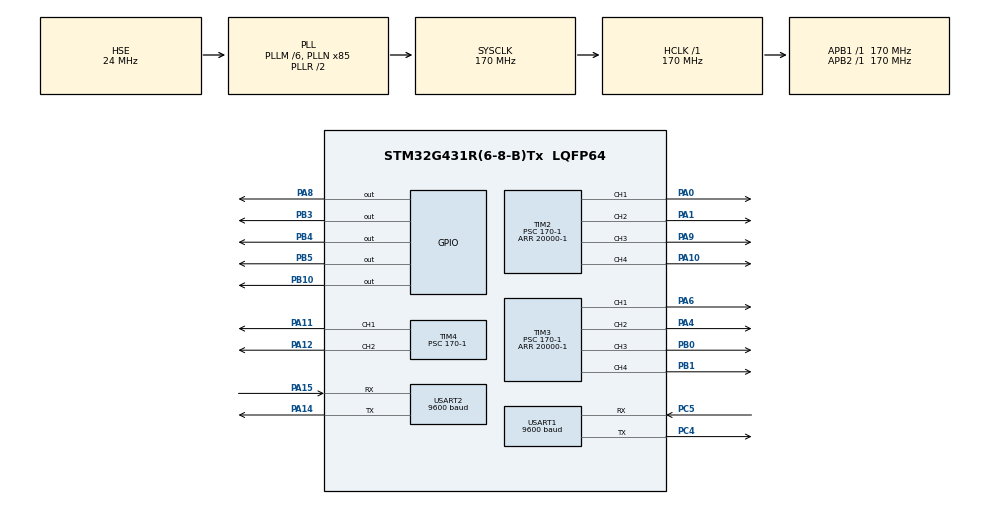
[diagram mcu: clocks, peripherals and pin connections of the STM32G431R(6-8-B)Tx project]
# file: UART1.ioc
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Mcu.Family=STM32G4
Mcu.Name=STM32G431R(6-8-B)Tx
Mcu.Package=LQFP64
NVIC.PriorityGroup=NVIC_PRIORITYGROUP_4
NVIC.USART1_IRQn=true\:1\:0\:true\:true\:true\:1\:true\:true
NVIC.USART2_IRQn=true\:2\:0\:true\:true\:true\:2\:true\:true
PA0.Signal=S_TIM2_CH1
PA1.Signal=S_TIM2_CH2
PA10.Signal=S_TIM2_CH4
PA11.Signal=S_TIM4_CH1
PA12.Signal=S_TIM4_CH2
PA14.Mode=Asynchronous
PA14.Signal=USART2_TX
PA15.Mode=Asynchronous
PA15.Signal=USART2_RX
PA4.Signal=S_TIM3_CH2
PA6.Signal=S_TIM3_CH1
PA8.Signal=GPIO_Output
PA9.Signal=S_TIM2_CH3
PB0.Signal=S_TIM3_CH3
PB1.Signal=S_TIM3_CH4
PB10.Signal=GPIO_Output
PB3.Signal=GPIO_Output
PB4.Signal=GPIO_Output
PB5.Signal=GPIO_Output
PC4.Mode=Asynchronous
PC4.Signal=USART1_TX
PC5.Mode=Asynchronous
PC5.Signal=USART1_RX
PF0-OSC_IN.Mode=HSE-External-Oscillator
PF0-OSC_IN.Signal=RCC_OSC_IN
PF1-OSC_OUT.Mode=HSE-External-Oscillator
PF1-OSC_OUT.Signal=RCC_OSC_OUT
ProjectManager.HeapSize=0x200
ProjectManager.StackSize=0x400
ProjectManager.TargetToolchain=STM32CubeIDE
RCC.ADC12Freq_Value=170000000
RCC.AHBFreq_Value=170000000
RCC.APB1Freq_Value=170000000
RCC.APB1TimFreq_Value=170000000
RCC.APB2Freq_Value=170000000
RCC.APB2TimFreq_Value=170000000
RCC.CortexFreq_Value=170000000
RCC.EXTERNAL_CLOCK_VALUE=12288000
RCC.HCLKFreq_Value=170000000
RCC.HSE_VALUE=24000000
RCC.HSI48_VALUE=48000000
RCC.HSI_VALUE=16000000
RCC.LSE_VALUE=32768
RCC.PLLM=RCC_PLLM_DIV6
RCC.PLLN=85
RCC.PLLSourceVirtual=RCC_PLLSOURCE_HSE
RCC.SYSCLKFreq_VALUE=170000000
RCC.SYSCLKSource=RCC_SYSCLKSOURCE_PLLCLK
RCC.USBFreq_Value=170000000
RCC.VCOOutputFreq_Value=340000000
SH.S_TIM2_CH1.0=TIM2_CH1,PWM Generation1 CH1
SH.S_TIM2_CH2.0=TIM2_CH2,PWM Generation2 CH2
SH.S_TIM2_CH3.0=TIM2_CH3,PWM Generation3 CH3
SH.S_TIM2_CH4.0=TIM2_CH4,PWM Generation4 CH4
SH.S_TIM3_CH1.0=TIM3_CH1,PWM Generation1 CH1
SH.S_TIM3_CH2.0=TIM3_CH2,PWM Generation2 CH2
SH.S_TIM3_CH3.0=TIM3_CH3,PWM Generation3 CH3
SH.S_TIM3_CH4.0=TIM3_CH4,PWM Generation4 CH4
SH.S_TIM4_CH1.0=TIM4_CH1,PWM Generation1 CH1
SH.S_TIM4_CH2.0=TIM4_CH2,PWM Generation2 CH2
TIM2.Channel-PWM\ Generation1\ CH1=TIM_CHANNEL_1
TIM2.Channel-PWM\ Generation2\ CH2=TIM_CHANNEL_2
TIM2.Channel-PWM\ Generation3\ CH3=TIM_CHANNEL_3
TIM2.Channel-PWM\ Generation4\ CH4=TIM_CHANNEL_4
TIM2.PeriodNoDither=20000-1
TIM2.Prescaler=170-1
TIM3.Channel-PWM\ Generation1\ CH1=TIM_CHANNEL_1
TIM3.Channel-PWM\ Generation2\ CH2=TIM_CHANNEL_2
TIM3.Channel-PWM\ Generation3\ CH3=TIM_CHANNEL_3
TIM3.Channel-PWM\ Generation4\ CH4=TIM_CHANNEL_4
TIM3.PeriodNoDither=20000-1
TIM3.Prescaler=170-1
TIM4.Channel-PWM\ Generation1\ CH1=TIM_CHANNEL_1
TIM4.Channel-PWM\ Generation2\ CH2=TIM_CHANNEL_2
TIM4.PeriodNoDither=20000-1
TIM4.Prescaler=170-1
USART1.BaudRate=9600
USART1.VirtualMode-Asynchronous=VM_ASYNC
USART2.BaudRate=9600
USART2.VirtualMode-Asynchronous=VM_ASYNC
VP_SYS_VS_DBSignals.Mode=DisableDeadBatterySignals
board=custom

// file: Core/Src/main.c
/* USER CODE BEGIN Header */
/**
  ******************************************************************************
  * @file           : main.c
  * @brief          : Main program body
  ******************************************************************************
  * @attention
  *
  * <h2><center>&copy; Copyright (c) 2020 STMicroelectronics.
  * All rights reserved.</center></h2>
  *
  * This software component is licensed by ST under BSD 3-Clause license,
  * the "License"; You may not use this file except in compliance with the
  * License. You may obtain a copy of the License at:
  *                        opensource.org/licenses/BSD-3-Clause
  *
  ******************************************************************************
  */
/* USER CODE END Header */

#include "main.h"

TIM_HandleTypeDef htim2;
TIM_HandleTypeDef htim3;
TIM_HandleTypeDef htim4;

UART_HandleTypeDef huart1;
UART_HandleTypeDef huart2;

/* USER CODE BEGIN PV */
uint8_t aRxBuffer[1];
uint8_t aRxBuffer2[1];
uint16_t pwm_compare1 = 1000;
uint16_t pwm_compare2 = 1500;
uint16_t pwm_compare3 = 1500;
uint16_t pwm_compare6 = 1600;
uint16_t pwm_compare4 = 1500;
uint16_t pwm_compare5 = 1650;
uint16_t pwm_compare9 = 1500;
uint16_t pwm_compare10 = 1500;
uint16_t pwm_compare7 = 1500;
uint16_t pwm_compare8 = 1500;

/* USER CODE END PV */

void SystemClock_Config(void);
static void MX_GPIO_Init(void);
static void MX_USART1_UART_Init(void);
static void MX_TIM2_Init(void);
static void MX_TIM3_Init(void);
static void MX_TIM4_Init(void);
static void MX_USART2_UART_Init(void);
static void MX_NVIC_Init(void);

/* USER CODE BEGIN 0 */
#include "stdio.h"
#ifdef __GNUC__
#define PUTCHAR_PROTOTYPE int __io_putchar(int ch)
#else
#define PUTCHAR_PROTOTYPE int fputc(int ch, FILE *f)
#endif /* __GNUC__ */
PUTCHAR_PROTOTYPE
{
    HAL_UART_Transmit(&huart1 , (uint8_t *)&ch, 1, 0xFFFF);
    return ch;
}

/* USER CODE END 0 */

int main(void)
{

  /* MCU Configuration--------------------------------------------------------*/

  /* Reset of all peripherals, Initializes the Flash interface and the Systick. */
  HAL_Init();

  /* Configure the system clock */
  SystemClock_Config();

  /* Initialize all configured peripherals */
  MX_GPIO_Init();
  MX_USART1_UART_Init();
  MX_TIM2_Init();
  MX_TIM3_Init();
  MX_TIM4_Init();
  MX_USART2_UART_Init();

  /* Initialize interrupts */
  MX_NVIC_Init();
  /* USER CODE BEGIN 2 */
  HAL_TIM_PWM_Start_IT(&htim2,TIM_CHANNEL_1);
  HAL_TIM_PWM_Start_IT(&htim2,TIM_CHANNEL_2);
  HAL_TIM_PWM_Start_IT(&htim2,TIM_CHANNEL_3);
  HAL_TIM_PWM_Start_IT(&htim2,TIM_CHANNEL_4);
  HAL_TIM_PWM_Start_IT(&htim3,TIM_CHANNEL_1);
  HAL_TIM_PWM_Start_IT(&htim3,TIM_CHANNEL_2);
  HAL_TIM_PWM_Start_IT(&htim3,TIM_CHANNEL_3);
  HAL_TIM_PWM_Start_IT(&htim3,TIM_CHANNEL_4);
  HAL_TIM_PWM_Start_IT(&htim4,TIM_CHANNEL_1);
  HAL_TIM_PWM_Start_IT(&htim4,TIM_CHANNEL_2);
  __HAL_TIM_SetCompare(&htim2, TIM_CHANNEL_1, pwm_compare1);
  __HAL_TIM_SetCompare(&htim2, TIM_CHANNEL_2, pwm_compare2);
  __HAL_TIM_SetCompare(&htim2, TIM_CHANNEL_3, pwm_compare3);
  __HAL_TIM_SetCompare(&htim2, TIM_CHANNEL_4, pwm_compare6);
  __HAL_TIM_SetCompare(&htim3, TIM_CHANNEL_1, pwm_compare4);
  __HAL_TIM_SetCompare(&htim3, TIM_CHANNEL_2, pwm_compare5);
  __HAL_TIM_SetCompare(&htim3, TIM_CHANNEL_3, pwm_compare9);
  __HAL_TIM_SetCompare(&htim3, TIM_CHANNEL_4, pwm_compare10);
  __HAL_TIM_SetCompare(&htim4, TIM_CHANNEL_1, pwm_compare7);
  __HAL_TIM_SetCompare(&htim4, TIM_CHANNEL_2, pwm_compare8);
  HAL_UART_Receive_IT(&huart1, (uint8_t *)aRxBuffer, 1);//HAL库中接收中断函数，内部开启了中断，并将数据存储在aRxBuffer，现在在aRxBuffer就缓存一个Byte，该函数只有接收完才会调用回调函数
  HAL_UART_Receive_IT(&huart2, (uint8_t *)aRxBuffer2, 1);
  /* USER CODE END 2 */

  /* Infinite loop */
  while (1)
  {

  }
}

void SystemClock_Config(void)
{
  RCC_OscInitTypeDef RCC_OscInitStruct = {0};
  RCC_ClkInitTypeDef RCC_ClkInitStruct = {0};
  RCC_PeriphCLKInitTypeDef PeriphClkInit = {0};

  /** Configure the main internal regulator output voltage
  */
  HAL_PWREx_ControlVoltageScaling(PWR_REGULATOR_VOLTAGE_SCALE1_BOOST);
  /** Initializes the CPU, AHB and APB busses clocks
  */
  RCC_OscInitStruct.OscillatorType = RCC_OSCILLATORTYPE_HSE;
  RCC_OscInitStruct.HSEState = RCC_HSE_ON;
  RCC_OscInitStruct.PLL.PLLState = RCC_PLL_ON;
  RCC_OscInitStruct.PLL.PLLSource = RCC_PLLSOURCE_HSE;
  RCC_OscInitStruct.PLL.PLLM = RCC_PLLM_DIV6;
  RCC_OscInitStruct.PLL.PLLN = 85;
  RCC_OscInitStruct.PLL.PLLP = RCC_PLLP_DIV2;
  RCC_OscInitStruct.PLL.PLLQ = RCC_PLLQ_DIV2;
  RCC_OscInitStruct.PLL.PLLR = RCC_PLLR_DIV2;
  if (HAL_RCC_OscConfig(&RCC_OscInitStruct) != HAL_OK)
  {
    Error_Handler();
  }
  /** Initializes the CPU, AHB and APB busses clocks
  */
  RCC_ClkInitStruct.ClockType = RCC_CLOCKTYPE_HCLK|RCC_CLOCKTYPE_SYSCLK
                              |RCC_CLOCKTYPE_PCLK1|RCC_CLOCKTYPE_PCLK2;
  RCC_ClkInitStruct.SYSCLKSource = RCC_SYSCLKSOURCE_PLLCLK;
  RCC_ClkInitStruct.AHBCLKDivider = RCC_SYSCLK_DIV1;
  RCC_ClkInitStruct.APB1CLKDivider = RCC_HCLK_DIV1;
  RCC_ClkInitStruct.APB2CLKDivider = RCC_HCLK_DIV1;

  if (HAL_RCC_ClockConfig(&RCC_ClkInitStruct, FLASH_LATENCY_8) != HAL_OK)
  {
    Error_Handler();
  }
  /** Initializes the peripherals clocks
  */
  PeriphClkInit.PeriphClockSelection = RCC_PERIPHCLK_USART1|RCC_PERIPHCLK_USART2;
  PeriphClkInit.Usart1ClockSelection = RCC_USART1CLKSOURCE_PCLK2;
  PeriphClkInit.Usart2ClockSelection = RCC_USART2CLKSOURCE_PCLK1;
  if (HAL_RCCEx_PeriphCLKConfig(&PeriphClkInit) != HAL_OK)
  {
    Error_Handler();
  }
}

/**
  * @brief NVIC Configuration.
  * @retval None
  */
static void MX_NVIC_Init(void)
{
  /* USART1_IRQn interrupt configuration */
  HAL_NVIC_SetPriority(USART1_IRQn, 1, 0);
  HAL_NVIC_EnableIRQ(USART1_IRQn);
  /* USART2_IRQn interrupt configuration */
  HAL_NVIC_SetPriority(USART2_IRQn, 2, 0);
  HAL_NVIC_EnableIRQ(USART2_IRQn);
}

static void MX_TIM2_Init(void)
{

  TIM_MasterConfigTypeDef sMasterConfig = {0};
  TIM_OC_InitTypeDef sConfigOC = {0};

  htim2.Instance = TIM2;
  htim2.Init.Prescaler = 170-1;
  htim2.Init.CounterMode = TIM_COUNTERMODE_UP;
  htim2.Init.Period = 19999;
  htim2.Init.ClockDivision = TIM_CLOCKDIVISION_DIV1;
  htim2.Init.AutoReloadPreload = TIM_AUTORELOAD_PRELOAD_DISABLE;
  if (HAL_TIM_PWM_Init(&htim2) != HAL_OK)
  {
    Error_Handler();
  }
  sMasterConfig.MasterOutputTrigger = TIM_TRGO_RESET;
  sMasterConfig.MasterSlaveMode = TIM_MASTERSLAVEMODE_DISABLE;
  if (HAL_TIMEx_MasterConfigSynchronization(&htim2, &sMasterConfig) != HAL_OK)
  {
    Error_Handler();
  }
  sConfigOC.OCMode = TIM_OCMODE_PWM1;
  sConfigOC.Pulse = 0;
  sConfigOC.OCPolarity = TIM_OCPOLARITY_HIGH;
  sConfigOC.OCFastMode = TIM_OCFAST_DISABLE;
  if (HAL_TIM_PWM_ConfigChannel(&htim2, &sConfigOC, TIM_CHANNEL_1) != HAL_OK)
  {
    Error_Handler();
  }
  sConfigOC.Pulse = 0;
  if (HAL_TIM_PWM_ConfigChannel(&htim2, &sConfigOC, TIM_CHANNEL_2) != HAL_OK)
  {
    Error_Handler();
  }
  sConfigOC.Pulse = 0;
  if (HAL_TIM_PWM_ConfigChannel(&htim2, &sConfigOC, TIM_CHANNEL_3) != HAL_OK)
  {
    Error_Handler();
  }
  sConfigOC.Pulse = 0;
  if (HAL_TIM_PWM_ConfigChannel(&htim2, &sConfigOC, TIM_CHANNEL_4) != HAL_OK)
  {
    Error_Handler();
  }
  HAL_TIM_MspPostInit(&htim2);

}

static void MX_TIM3_Init(void)
{

  TIM_MasterConfigTypeDef sMasterConfig = {0};
  TIM_OC_InitTypeDef sConfigOC = {0};

  htim3.Instance = TIM3;
  htim3.Init.Prescaler = 170-1;
  htim3.Init.CounterMode = TIM_COUNTERMODE_UP;
  htim3.Init.Period = 19999;
  htim3.Init.ClockDivision = TIM_CLOCKDIVISION_DIV1;
  htim3.Init.AutoReloadPreload = TIM_AUTORELOAD_PRELOAD_DISABLE;
  if (HAL_TIM_PWM_Init(&htim3) != HAL_OK)
  {
    Error_Handler();
  }
  sMasterConfig.MasterOutputTrigger = TIM_TRGO_RESET;
  sMasterConfig.MasterSlaveMode = TIM_MASTERSLAVEMODE_DISABLE;
  if (HAL_TIMEx_MasterConfigSynchronization(&htim3, &sMasterConfig) != HAL_OK)
  {
    Error_Handler();
  }
  sConfigOC.OCMode = TIM_OCMODE_PWM1;
  sConfigOC.Pulse = 0;
  sConfigOC.OCPolarity = TIM_OCPOLARITY_HIGH;
  sConfigOC.OCFastMode = TIM_OCFAST_DISABLE;
  if (HAL_TIM_PWM_ConfigChannel(&htim3, &sConfigOC, TIM_CHANNEL_1) != HAL_OK)
  {
    Error_Handler();
  }
  sConfigOC.Pulse = 0;
  if (HAL_TIM_PWM_ConfigChannel(&htim3, &sConfigOC, TIM_CHANNEL_2) != HAL_OK)
  {
    Error_Handler();
  }
  sConfigOC.Pulse = 0;
  if (HAL_TIM_PWM_ConfigChannel(&htim3, &sConfigOC, TIM_CHANNEL_3) != HAL_OK)
  {
    Error_Handler();
  }
  sConfigOC.Pulse = 0;
  if (HAL_TIM_PWM_ConfigChannel(&htim3, &sConfigOC, TIM_CHANNEL_4) != HAL_OK)
  {
    Error_Handler();
  }
  HAL_TIM_MspPostInit(&htim3);

}

static void MX_TIM4_Init(void)
{

  TIM_MasterConfigTypeDef sMasterConfig = {0};
  TIM_OC_InitTypeDef sConfigOC = {0};

  htim4.Instance = TIM4;
  htim4.Init.Prescaler = 170-1;
  htim4.Init.CounterMode = TIM_COUNTERMODE_UP;
  htim4.Init.Period = 19999;
  htim4.Init.ClockDivision = TIM_CLOCKDIVISION_DIV1;
  htim4.Init.AutoReloadPreload = TIM_AUTORELOAD_PRELOAD_DISABLE;
  if (HAL_TIM_PWM_Init(&htim4) != HAL_OK)
  {
    Error_Handler();
  }
  sMasterConfig.MasterOutputTrigger = TIM_TRGO_RESET;
  sMasterConfig.MasterSlaveMode = TIM_MASTERSLAVEMODE_DISABLE;
  if (HAL_TIMEx_MasterConfigSynchronization(&htim4, &sMasterConfig) != HAL_OK)
  {
    Error_Handler();
  }
  sConfigOC.OCMode = TIM_OCMODE_PWM1;
  sConfigOC.Pulse = 0;
  sConfigOC.OCPolarity = TIM_OCPOLARITY_HIGH;
  sConfigOC.OCFastMode = TIM_OCFAST_DISABLE;
  if (HAL_TIM_PWM_ConfigChannel(&htim4, &sConfigOC, TIM_CHANNEL_1) != HAL_OK)
  {
    Error_Handler();
  }
  sConfigOC.Pulse = 0;
  if (HAL_TIM_PWM_ConfigChannel(&htim4, &sConfigOC, TIM_CHANNEL_2) != HAL_OK)
  {
    Error_Handler();
  }
  HAL_TIM_MspPostInit(&htim4);

}

static void MX_USART1_UART_Init(void)
{

  huart1.Instance = USART1;
  huart1.Init.BaudRate = 9600;
  huart1.Init.WordLength = UART_WORDLENGTH_8B;
  huart1.Init.StopBits = UART_STOPBITS_1;
  huart1.Init.Parity = UART_PARITY_NONE;
  huart1.Init.Mode = UART_MODE_TX_RX;
  huart1.Init.HwFlowCtl = UART_HWCONTROL_NONE;
  huart1.Init.OverSampling = UART_OVERSAMPLING_16;
  huart1.Init.OneBitSampling = UART_ONE_BIT_SAMPLE_DISABLE;
  huart1.Init.ClockPrescaler = UART_PRESCALER_DIV1;
  huart1.AdvancedInit.AdvFeatureInit = UART_ADVFEATURE_NO_INIT;
  if (HAL_UART_Init(&huart1) != HAL_OK)
  {
    Error_Handler();
  }
  if (HAL_UARTEx_SetTxFifoThreshold(&huart1, UART_TXFIFO_THRESHOLD_1_8) != HAL_OK)
  {
    Error_Handler();
  }
  if (HAL_UARTEx_SetRxFifoThreshold(&huart1, UART_RXFIFO_THRESHOLD_1_8) != HAL_OK)
  {
    Error_Handler();
  }
  if (HAL_UARTEx_DisableFifoMode(&huart1) != HAL_OK)
  {
    Error_Handler();
  }

}

static void MX_USART2_UART_Init(void)
{

  huart2.Instance = USART2;
  huart2.Init.BaudRate = 9600;
  huart2.Init.WordLength = UART_WORDLENGTH_8B;
  huart2.Init.StopBits = UART_STOPBITS_1;
  huart2.Init.Parity = UART_PARITY_NONE;
  huart2.Init.Mode = UART_MODE_TX_RX;
  huart2.Init.HwFlowCtl = UART_HWCONTROL_NONE;
  huart2.Init.OverSampling = UART_OVERSAMPLING_16;
  huart2.Init.OneBitSampling = UART_ONE_BIT_SAMPLE_DISABLE;
  huart2.Init.ClockPrescaler = UART_PRESCALER_DIV1;
  huart2.AdvancedInit.AdvFeatureInit = UART_ADVFEATURE_NO_INIT;
  if (HAL_UART_Init(&huart2) != HAL_OK)
  {
    Error_Handler();
  }
  if (HAL_UARTEx_SetTxFifoThreshold(&huart2, UART_TXFIFO_THRESHOLD_1_8) != HAL_OK)
  {
    Error_Handler();
  }
  if (HAL_UARTEx_SetRxFifoThreshold(&huart2, UART_RXFIFO_THRESHOLD_1_8) != HAL_OK)
  {
    Error_Handler();
  }
  if (HAL_UARTEx_DisableFifoMode(&huart2) != HAL_OK)
  {
    Error_Handler();
  }

}

static void MX_GPIO_Init(void)
{
  GPIO_InitTypeDef GPIO_InitStruct = {0};

  /* GPIO Ports Clock Enable */
  __HAL_RCC_GPIOF_CLK_ENABLE();
  __HAL_RCC_GPIOA_CLK_ENABLE();
  __HAL_RCC_GPIOC_CLK_ENABLE();
  __HAL_RCC_GPIOB_CLK_ENABLE();

  /*Configure GPIO pin Output Level */
  HAL_GPIO_WritePin(GPIOB, GPIO_PIN_10|GPIO_PIN_3|GPIO_PIN_4|GPIO_PIN_5, GPIO_PIN_RESET);

  /*Configure GPIO pin Output Level */
  HAL_GPIO_WritePin(GPIOA, GPIO_PIN_8, GPIO_PIN_RESET);

  /*Configure GPIO pins : PB10 PB3 PB4 PB5 */
  GPIO_InitStruct.Pin = GPIO_PIN_10|GPIO_PIN_3|GPIO_PIN_4|GPIO_PIN_5;
  GPIO_InitStruct.Mode = GPIO_MODE_OUTPUT_PP;
  GPIO_InitStruct.Pull = GPIO_NOPULL;
  GPIO_InitStruct.Speed = GPIO_SPEED_FREQ_LOW;
  HAL_GPIO_Init(GPIOB, &GPIO_InitStruct);

  /*Configure GPIO pin : PA8 */
  GPIO_InitStruct.Pin = GPIO_PIN_8;
  GPIO_InitStruct.Mode = GPIO_MODE_OUTPUT_PP;
  GPIO_InitStruct.Pull = GPIO_NOPULL;
  GPIO_InitStruct.Speed = GPIO_SPEED_FREQ_LOW;
  HAL_GPIO_Init(GPIOA, &GPIO_InitStruct);

}

/* USER CODE BEGIN 4 */
//控制0~180度舵机旋转
//void USR_TIM2_PWM_SetCompare(uint16_t duty)
//{
//   uint16_t pluse = 500;
//   pluse += duty;
////   HAL_TIM_PWM_Start_IT(&htim2,TIM_CHANNEL_1);
//   __HAL_TIM_SetCompare(&htim2, TIM_CHANNEL_1, (uint16_t)pluse);
//   pluse = 500;
//
//}

//蓝牙通信
void HAL_UART_RxCpltCallback(UART_HandleTypeDef *UartHandle)
{
	 HAL_UART_Transmit(&huart1, ((uint8_t *)aRxBuffer), 1,0xFFFF);
	 HAL_UART_Receive_IT(&huart1, (uint8_t *)aRxBuffer, 1);
	 switch(aRxBuffer[0]){
	 case 0x50:
		 HAL_GPIO_WritePin(GPIOA, GPIO_PIN_8, GPIO_PIN_SET);
		 break;
	 case 0x51:
		 HAL_GPIO_WritePin(GPIOA, GPIO_PIN_8, GPIO_PIN_RESET);
		 break;

		 //舵机控制
	 case 0x32://PWM1钳子张开
		 pwm_compare1 += 10;
		 if(pwm_compare1 <= 2400)
		 {
			 __HAL_TIM_SetCompare(&htim2, TIM_CHANNEL_1, pwm_compare1);
		 }
		 break;

	 case 0x31://钳子收缩
		 pwm_compare1 -= 10;
		 if(pwm_compare1 >= 86)
		 {
			 __HAL_TIM_SetCompare(&htim2, TIM_CHANNEL_1, pwm_compare1);
		 }
		 break;
	 case 0x33://PWM2前端控制钳子右运动
		 pwm_compare2 += 10;
		 if(pwm_compare2 <= 2400)
		 {
			__HAL_TIM_SetCompare(&htim2, TIM_CHANNEL_2, pwm_compare2);
		 }
		break;
	 case 0x34://前端控制钳子的左运动
		 pwm_compare2 -= 10;
		 if(pwm_compare2 >= 60)
		 {
			__HAL_TIM_SetCompare(&htim2, TIM_CHANNEL_2, pwm_compare2);
		 }
		break;
	 case 0x35://PWM3前端控制钳子的上运动
		 pwm_compare3 += 10;
		 if(pwm_compare3 <= 2400)
		 {
			 __HAL_TIM_SetCompare(&htim2, TIM_CHANNEL_3, pwm_compare3);
		 }
		break;
	 case 0x36://前端控制钳子的下运动
		 pwm_compare3 -= 10;
		 if(pwm_compare3 >= 560)
		 {
			 __HAL_TIM_SetCompare(&htim2, TIM_CHANNEL_3, pwm_compare3);

		 }
	     break;
	 case 0x41://PWM6整体右转
		 pwm_compare6 += 20;
		 if(pwm_compare6 <= 2400)
		 {
			   __HAL_TIM_SetCompare(&htim2, TIM_CHANNEL_4, pwm_compare6);
		 }
		break;
	 case 0x42://整体左转
		 pwm_compare6 -= 20;
		 if(pwm_compare6 >= 560)
		 {
			__HAL_TIM_SetCompare(&htim2, TIM_CHANNEL_4, pwm_compare6);
		 }
		break;
	 case 0x37://PWM4、PWM5 向后缩进
		pwm_compare4 += 20;
		pwm_compare5 += 20;
		if(pwm_compare5 <= 2400)
		{
			__HAL_TIM_SetCompare(&htim3, TIM_CHANNEL_1, pwm_compare4);
			__HAL_TIM_SetCompare(&htim3, TIM_CHANNEL_2, pwm_compare5);
	    }
		break;

	 case 0x38://向前推进
		 pwm_compare4 -= 20;
		 pwm_compare5 -= 20;
		 if(pwm_compare4 >= 60)
		 {
			 __HAL_TIM_SetCompare(&htim3, TIM_CHANNEL_1, pwm_compare4);
			 __HAL_TIM_SetCompare(&htim3, TIM_CHANNEL_2, pwm_compare5);
		 }
			break;

	 case 0x53://PWM9 摄像头左转
		 pwm_compare9 += 10;
		 if(pwm_compare9 <= 2400)
		 {
			 __HAL_TIM_SetCompare(&htim3, TIM_CHANNEL_3, pwm_compare9);
		 }
		 			 break;
	 case 0x54://摄像头右转
		 pwm_compare9 -= 10;
		 if(pwm_compare9 >= 60)
		 {
		 	 __HAL_TIM_SetCompare(&htim3, TIM_CHANNEL_3, pwm_compare9);
		 }
		 			 break;
	 case 0x57:
	 	 pwm_compare9 = 1500;
	 	 __HAL_TIM_SetCompare(&htim3, TIM_CHANNEL_3, pwm_compare9);
	 	 break;
	 case 0x55://PWM10摄像头向下转
		 pwm_compare10 += 10;
		 if(pwm_compare10 <= 2400)
		 {
			 __HAL_TIM_SetCompare(&htim3, TIM_CHANNEL_4, pwm_compare10);
	     }
			 break;
	 case 0x56://摄像头向上转
		 pwm_compare10 -= 10;
		 if(pwm_compare10 >= 60)
		 {
			 __HAL_TIM_SetCompare(&htim3, TIM_CHANNEL_4, pwm_compare10);
		 }
			 break;

	 case 0x43://前进
		 //IN1<=1; IN2<=0; IN3<=0; IN4<=1;
		 HAL_GPIO_WritePin(GPIOB, GPIO_PIN_10|GPIO_PIN_3, GPIO_PIN_SET);
		 HAL_GPIO_WritePin(GPIOB, GPIO_PIN_4|GPIO_PIN_5, GPIO_PIN_RESET);
		 break;
	 case 0x44://后退
//			 IN1<=0; IN2<=1; IN3<=1; IN4<=0;
		 HAL_GPIO_WritePin(GPIOB, GPIO_PIN_4|GPIO_PIN_5, GPIO_PIN_SET);
		 HAL_GPIO_WritePin(GPIOB, GPIO_PIN_10|GPIO_PIN_3, GPIO_PIN_RESET);
		 break;
	 case 0x45://右转
		 //IN1<=1; IN2<=0; IN3<=1; IN4<=0;
		 HAL_GPIO_WritePin(GPIOB, GPIO_PIN_3|GPIO_PIN_4, GPIO_PIN_SET);
		 HAL_GPIO_WritePin(GPIOB, GPIO_PIN_5|GPIO_PIN_10, GPIO_PIN_RESET);
		break;
	 case 0x46://左转
		//IN1<=0; IN2<=1; IN3<=0; IN4<=1;
		HAL_GPIO_WritePin(GPIOB, GPIO_PIN_5|GPIO_PIN_10, GPIO_PIN_SET);
		HAL_GPIO_WritePin(GPIOB, GPIO_PIN_3|GPIO_PIN_4, GPIO_PIN_RESET);
		break;
	 case 0x47://停止
		//IN1<=0; IN2<=0; IN3<=0; IN4<=0;
		HAL_GPIO_WritePin(GPIOB, GPIO_PIN_10|GPIO_PIN_3|GPIO_PIN_4|GPIO_PIN_5, GPIO_PIN_RESET);
		break;

	 case 0x48://高速
		 pwm_compare7 = 2500;
		 pwm_compare8 = 2500;
		 __HAL_TIM_SetCompare(&htim4, TIM_CHANNEL_1, pwm_compare7);
		 __HAL_TIM_SetCompare(&htim4, TIM_CHANNEL_2, pwm_compare8);
		 break;
	 case 0x49://中速
		 pwm_compare7 = 2000;
		 pwm_compare8 = 2000;
		 __HAL_TIM_SetCompare(&htim4, TIM_CHANNEL_1, pwm_compare7);
		 __HAL_TIM_SetCompare(&htim4, TIM_CHANNEL_2, pwm_compare8);
		 break;

	 case 0x52://慢速
		 pwm_compare7 = 1500;
		 pwm_compare8 = 1500;
		 __HAL_TIM_SetCompare(&htim4, TIM_CHANNEL_1, pwm_compare7);
		 __HAL_TIM_SetCompare(&htim4, TIM_CHANNEL_2, pwm_compare8);
		 break;
	 }

	 HAL_UART_Transmit(&huart2, ((uint8_t *)aRxBuffer2), 1,0xFFFF);
	 HAL_UART_Receive_IT(&huart2, (uint8_t *)aRxBuffer2, 1);
	 switch(aRxBuffer2[0])
	 {
	 	 case 0x50:
	 	 HAL_GPIO_WritePin(GPIOA, GPIO_PIN_8, GPIO_PIN_SET);
	 	 break;
	 	 case 0x51:
	 	 HAL_GPIO_WritePin(GPIOA, GPIO_PIN_8, GPIO_PIN_RESET);
	 	 break;
	 //舵机控制
	 	 case 0x32://PWM1钳子张开
	 		 pwm_compare1 += 10;
	 		 if(pwm_compare1 <= 2400)
	 		 {
	 			 __HAL_TIM_SetCompare(&htim2, TIM_CHANNEL_1, pwm_compare1);
	 		 }
	 		 break;

	 	 case 0x31://钳子收缩
	 		 pwm_compare1 -= 10;
	 		 if(pwm_compare1 >= 86)
	 		 {
	 			 __HAL_TIM_SetCompare(&htim2, TIM_CHANNEL_1, pwm_compare1);
	 		 }
	 		 break;
	 	 case 0x33://PWM2前端控制钳子右运动
	 		 pwm_compare2 += 10;
	 		 if(pwm_compare2 <= 2400)
	 		 {
	 			__HAL_TIM_SetCompare(&htim2, TIM_CHANNEL_2, pwm_compare2);
	 		 }
	 		break;
	 	 case 0x34://前端控制钳子的左运动
	 		 pwm_compare2 -= 10;
	 		 if(pwm_compare2 >= 60)
	 		 {
	 			__HAL_TIM_SetCompare(&htim2, TIM_CHANNEL_2, pwm_compare2);
	 		 }
	 		break;
	 	 case 0x35://PWM3前端控制钳子的上运动
	 		 pwm_compare3 += 10;
	 		 if(pwm_compare3 <= 2400)
	 		 {
	 			 __HAL_TIM_SetCompare(&htim2, TIM_CHANNEL_3, pwm_compare3);
	 		 }
	 		break;
	 	 case 0x36://前端控制钳子的下运动
	 		 pwm_compare3 -= 10;
	 		 if(pwm_compare3 >= 560)
	 		 {
	 			 __HAL_TIM_SetCompare(&htim2, TIM_CHANNEL_3, pwm_compare3);

	 		 }
	 	     break;
	 	 case 0x41://PWM6整体右转
	 		 pwm_compare6 += 20;
	 		 if(pwm_compare6 <= 2400)
	 		 {
	 			   __HAL_TIM_SetCompare(&htim2, TIM_CHANNEL_4, pwm_compare6);
	 		 }
	 		break;
	 	 case 0x42://整体左转
	 		 pwm_compare6 -= 20;
	 		 if(pwm_compare6 >= 560)
	 		 {
	 			__HAL_TIM_SetCompare(&htim2, TIM_CHANNEL_4, pwm_compare6);
	 		 }
	 		break;
	 	 case 0x37://PWM4、PWM5 向后缩进
	 		pwm_compare4 += 20;
	 		pwm_compare5 += 20;
	 		if(pwm_compare5 <= 2400)
	 		{
	 			__HAL_TIM_SetCompare(&htim3, TIM_CHANNEL_1, pwm_compare4);
	 			__HAL_TIM_SetCompare(&htim3, TIM_CHANNEL_2, pwm_compare5);
	 	    }
	 		break;

	 	 case 0x38://向前推进
	 		 pwm_compare4 -= 20;
	 		 pwm_compare5 -= 20;
	 		 if(pwm_compare4 >= 60)
	 		 {
	 			 __HAL_TIM_SetCompare(&htim3, TIM_CHANNEL_1, pwm_compare4);
	 			 __HAL_TIM_SetCompare(&htim3, TIM_CHANNEL_2, pwm_compare5);
	 		 }
	 			break;

	 	 case 0x53://PWM9 摄像头左转
	 		 pwm_compare9 += 10;
	 		 if(pwm_compare9 <= 2400)
	 		 {
	 			 __HAL_TIM_SetCompare(&htim3, TIM_CHANNEL_3, pwm_compare9);
	 		 }
	 		 			 break;
	 	 case 0x54://摄像头右转
	 		 pwm_compare9 -= 10;
	 		 if(pwm_compare9 >= 60)
	 		 {
	 		 	 __HAL_TIM_SetCompare(&htim3, TIM_CHANNEL_3, pwm_compare9);
	 		 }
	 		 			 break;
	 	 case 0x57:
	 		 	 pwm_compare9 = 1500;
	 		 	 __HAL_TIM_SetCompare(&htim3, TIM_CHANNEL_3, pwm_compare9);
	 		 	 break;

	 	 case 0x55://PWM10摄像头向下转
	 		 pwm_compare10 += 10;
	 		 if(pwm_compare10 <= 2400)
	 		 {
	 			 __HAL_TIM_SetCompare(&htim3, TIM_CHANNEL_4, pwm_compare10);
	 	     }
	 			 break;
	 	 case 0x56://摄像头向上转
	 		 pwm_compare10 -= 10;
	 		 if(pwm_compare10 >= 60)
	 		 {
	 			 __HAL_TIM_SetCompare(&htim3, TIM_CHANNEL_4, pwm_compare10);
	 		 }
	 			 break;
	 	 case 0x43://前进
	 		 //IN1<=1; IN2<=0; IN3<=0; IN4<=1;
	 		 HAL_GPIO_WritePin(GPIOB, GPIO_PIN_10|GPIO_PIN_3, GPIO_PIN_SET);
	 		 HAL_GPIO_WritePin(GPIOB, GPIO_PIN_4|GPIO_PIN_5, GPIO_PIN_RESET);
	 		 break;
	 	 case 0x44://后退
	 //			 IN1<=0; IN2<=1; IN3<=1; IN4<=0;
	 		 HAL_GPIO_WritePin(GPIOB, GPIO_PIN_4|GPIO_PIN_5, GPIO_PIN_SET);
	 		 HAL_GPIO_WritePin(GPIOB, GPIO_PIN_10|GPIO_PIN_3, GPIO_PIN_RESET);
	 		 break;
	 	 case 0x45://右转
	 		 //IN1<=1; IN2<=0; IN3<=1; IN4<=0;
	 		 HAL_GPIO_WritePin(GPIOB, GPIO_PIN_3|GPIO_PIN_4, GPIO_PIN_SET);
	 		 HAL_GPIO_WritePin(GPIOB, GPIO_PIN_5|GPIO_PIN_10, GPIO_PIN_RESET);
	 		break;
	 	 case 0x46://左转
	 		//IN1<=0; IN2<=1; IN3<=0; IN4<=1;
	 		HAL_GPIO_WritePin(GPIOB, GPIO_PIN_5|GPIO_PIN_10, GPIO_PIN_SET);
	 		HAL_GPIO_WritePin(GPIOB, GPIO_PIN_3|GPIO_PIN_4, GPIO_PIN_RESET);
	 		break;
	 	 case 0x47://停止
	 		//IN1<=0; IN2<=0; IN3<=0; IN4<=0;
	 		HAL_GPIO_WritePin(GPIOB, GPIO_PIN_10|GPIO_PIN_3|GPIO_PIN_4|GPIO_PIN_5, GPIO_PIN_RESET);
	 		break;

	 	 case 0x48://高速
	 		 pwm_compare7 = 2500;
	 		 pwm_compare8 = 2500;
	 		 __HAL_TIM_SetCompare(&htim4, TIM_CHANNEL_1, pwm_compare7);
	 		 __HAL_TIM_SetCompare(&htim4, TIM_CHANNEL_2, pwm_compare8);
	 		 break;
	 	 case 0x49://中速
	 		 pwm_compare7 = 2000;
	 		 pwm_compare8 = 2000;
	 		 __HAL_TIM_SetCompare(&htim4, TIM_CHANNEL_1, pwm_compare7);
	 		 __HAL_TIM_SetCompare(&htim4, TIM_CHANNEL_2, pwm_compare8);
	 		 break;

	 	 case 0x52://慢速
	 		 pwm_compare7 = 1500;
	 		 pwm_compare8 = 1500;
	 		 __HAL_TIM_SetCompare(&htim4, TIM_CHANNEL_1, pwm_compare7);
	 		 __HAL_TIM_SetCompare(&htim4, TIM_CHANNEL_2, pwm_compare8);
	 		 break;
	 }
}
/* USER CODE END 4 */

void Error_Handler(void)
{
}

/************************ (C) COPYRIGHT STMicroelectronics *****END OF FILE****/
